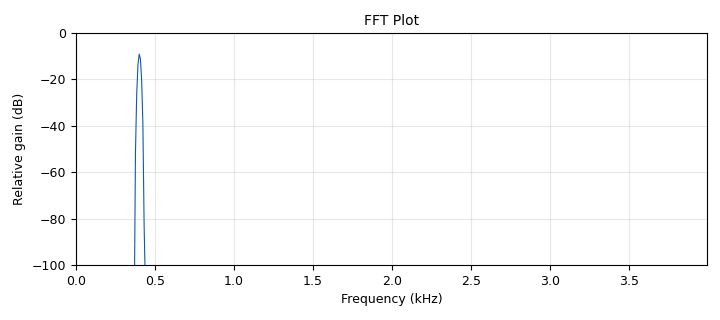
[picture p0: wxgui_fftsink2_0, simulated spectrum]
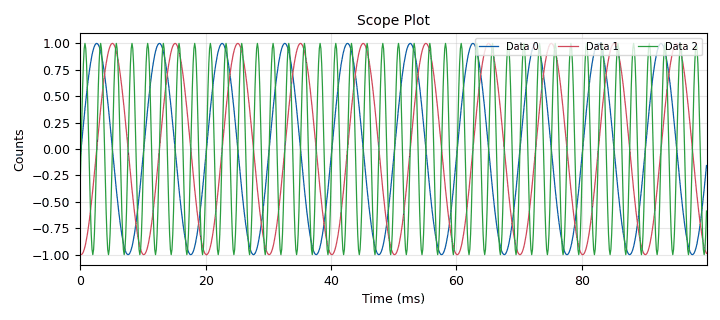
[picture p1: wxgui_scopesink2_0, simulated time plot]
<?xml version='1.0' encoding='utf-8'?>
<flow_graph>
<block>
<key>options</key>
<param><key>id</key><value>top_block</value></param>
<param><key>generate_options</key><value>wx_gui</value></param>
<param><key>category</key><value>Custom</value></param>
</block>
<block>
<key>variable</key>
<param><key>id</key><value>samp_rate</value></param>
<param><key>value</key><value>8000</value></param>
</block>
<block>
<key>analog_sig_source_x</key>
<param><key>id</key><value>analog_sig_source_x_0</value></param>
<param><key>type</key><value>float</value></param>
<param><key>samp_rate</key><value>samp_rate</value></param>
<param><key>waveform</key><value>analog.GR_COS_WAVE</value></param>
<param><key>freq</key><value>samp_rate/freq_alt</value></param>
<param><key>amp</key><value>1</value></param>
<param><key>offset</key><value>0</value></param>
</block>
<block>
<key>audio_sink</key>
<param><key>id</key><value>audio_sink_0</value></param>
<param><key>samp_rate</key><value>samp_rate</value></param>
<param><key>num_inputs</key><value>2</value></param>
</block>
<block>
<key>blocks_sub_xx</key>
<param><key>id</key><value>blocks_sub_xx_0_0</value></param>
<param><key>type</key><value>float</value></param>
</block>
<block>
<key>blocks_sub_xx</key>
<param><key>id</key><value>blocks_sub_xx_0</value></param>
<param><key>type</key><value>float</value></param>
</block>
<block>
<key>blocks_multiply_const_vxx</key>
<param><key>id</key><value>blocks_multiply_const_vxx_0</value></param>
<param><key>type</key><value>float</value></param>
<param><key>const</key><value>gain</value></param>
</block>
<block>
<key>variable_slider</key>
<param><key>id</key><value>gain</value></param>
<param><key>label</key><value></value></param>
<param><key>value</key><value>0</value></param>
<param><key>min</key><value>-1</value></param>
<param><key>max</key><value>1</value></param>
<param><key>num_steps</key><value>100</value></param>
<param><key>style</key><value>wx.SL_HORIZONTAL</value></param>
<param><key>converver</key><value>float_converter</value></param>
</block>
<block>
<key>variable_slider</key>
<param><key>id</key><value>delay</value></param>
<param><key>label</key><value></value></param>
<param><key>value</key><value>0</value></param>
<param><key>min</key><value>-100</value></param>
<param><key>max</key><value>100</value></param>
<param><key>num_steps</key><value>200</value></param>
<param><key>style</key><value>wx.SL_HORIZONTAL</value></param>
<param><key>converver</key><value>int_converter</value></param>
</block>
<block>
<key>analog_sig_source_x</key>
<param><key>id</key><value>analog_sig_source_x_1</value></param>
<param><key>type</key><value>float</value></param>
<param><key>samp_rate</key><value>samp_rate</value></param>
<param><key>waveform</key><value>analog.GR_SIN_WAVE</value></param>
<param><key>freq</key><value>samp_rate/freq_alt</value></param>
<param><key>amp</key><value>1</value></param>
<param><key>offset</key><value>0</value></param>
</block>
<block>
<key>analog_sig_source_x</key>
<param><key>id</key><value>analog_sig_source_x_1_0</value></param>
<param><key>type</key><value>float</value></param>
<param><key>samp_rate</key><value>samp_rate</value></param>
<param><key>waveform</key><value>analog.GR_SIN_WAVE</value></param>
<param><key>freq</key><value>samp_rate/freq_alt*4</value></param>
<param><key>amp</key><value>1</value></param>
<param><key>offset</key><value>0</value></param>
</block>
<block>
<key>blocks_delay</key>
<param><key>id</key><value>blocks_delay_0</value></param>
<param><key>type</key><value>float</value></param>
<param><key>delay</key><value>delay</value></param>
</block>
<block>
<key>variable_slider</key>
<param><key>id</key><value>freq_alt</value></param>
<param><key>label</key><value></value></param>
<param><key>value</key><value>80</value></param>
<param><key>min</key><value>40</value></param>
<param><key>max</key><value>160</value></param>
<param><key>num_steps</key><value>120</value></param>
<param><key>style</key><value>wx.SL_HORIZONTAL</value></param>
<param><key>converver</key><value>float_converter</value></param>
</block>
<block>
<key>wxgui_fftsink2</key>
<param><key>id</key><value>wxgui_fftsink2_0</value></param>
<param><key>type</key><value>float</value></param>
<param><key>title</key><value>FFT Plot</value></param>
<param><key>samp_rate</key><value>samp_rate</value></param>
<param><key>baseband_freq</key><value>0</value></param>
<param><key>y_per_div</key><value>10</value></param>
<param><key>y_divs</key><value>10</value></param>
<param><key>ref_level</key><value>0</value></param>
<param><key>ref_scale</key><value>2.0</value></param>
<param><key>fft_size</key><value>1024</value></param>
<param><key>fft_rate</key><value>15</value></param>
<param><key>peak_hold</key><value>False</value></param>
<param><key>average</key><value>False</value></param>
<param><key>avg_alpha</key><value>0</value></param>
<param><key>win</key><value>None</value></param>
<param><key>win_size</key><value>1000,400</value></param>
<param><key>freqvar</key><value>None</value></param>
</block>
<block>
<key>wxgui_scopesink2</key>
<param><key>id</key><value>wxgui_scopesink2_0</value></param>
<param><key>type</key><value>float</value></param>
<param><key>title</key><value>Scope Plot</value></param>
<param><key>samp_rate</key><value>samp_rate</value></param>
<param><key>v_scale</key><value>0</value></param>
<param><key>v_offset</key><value>0</value></param>
<param><key>t_scale</key><value>0</value></param>
<param><key>ac_couple</key><value>False</value></param>
<param><key>xy_mode</key><value>False</value></param>
<param><key>num_inputs</key><value>3</value></param>
<param><key>win_size</key><value>1000,200</value></param>
<param><key>trig_mode</key><value>wxgui.TRIG_MODE_AUTO</value></param>
<param><key>y_axis_label</key><value>Counts</value></param>
</block>
<connection><source_block_id>analog_sig_source_x_0</source_block_id><sink_block_id>blocks_sub_xx_0_0</sink_block_id><source_key>0</source_key><sink_key>0</sink_key></connection>
<connection><source_block_id>analog_sig_source_x_1</source_block_id><sink_block_id>blocks_sub_xx_0</sink_block_id><source_key>0</source_key><sink_key>0</sink_key></connection>
<connection><source_block_id>blocks_multiply_const_vxx_0</source_block_id><sink_block_id>blocks_sub_xx_0_0</sink_block_id><source_key>0</source_key><sink_key>1</sink_key></connection>
<connection><source_block_id>blocks_multiply_const_vxx_0</source_block_id><sink_block_id>blocks_sub_xx_0</sink_block_id><source_key>0</source_key><sink_key>1</sink_key></connection>
<connection><source_block_id>blocks_sub_xx_0_0</source_block_id><sink_block_id>audio_sink_0</sink_block_id><source_key>0</source_key><sink_key>0</sink_key></connection>
<connection><source_block_id>blocks_sub_xx_0</source_block_id><sink_block_id>audio_sink_0</sink_block_id><source_key>0</source_key><sink_key>1</sink_key></connection>
<connection><source_block_id>blocks_sub_xx_0_0</source_block_id><sink_block_id>wxgui_scopesink2_0</sink_block_id><source_key>0</source_key><sink_key>0</sink_key></connection>
<connection><source_block_id>blocks_sub_xx_0</source_block_id><sink_block_id>wxgui_scopesink2_0</sink_block_id><source_key>0</source_key><sink_key>1</sink_key></connection>
<connection><source_block_id>blocks_delay_0</source_block_id><sink_block_id>wxgui_fftsink2_0</sink_block_id><source_key>0</source_key><sink_key>0</sink_key></connection>
<connection><source_block_id>blocks_delay_0</source_block_id><sink_block_id>wxgui_scopesink2_0</sink_block_id><source_key>0</source_key><sink_key>2</sink_key></connection>
<connection><source_block_id>blocks_delay_0</source_block_id><sink_block_id>blocks_multiply_const_vxx_0</sink_block_id><source_key>0</source_key><sink_key>0</sink_key></connection>
<connection><source_block_id>analog_sig_source_x_1_0</source_block_id><sink_block_id>blocks_delay_0</sink_block_id><source_key>0</source_key><sink_key>0</sink_key></connection>
</flow_graph>
